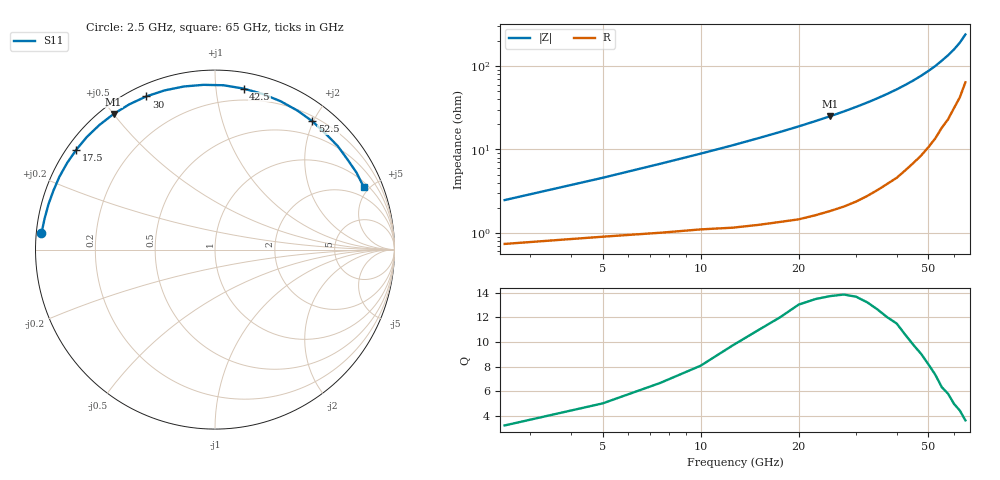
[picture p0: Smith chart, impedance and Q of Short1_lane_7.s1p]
! File created by SignalIntegrity v1.5.1: Signal and Power Integrity Tools
! https://github.com/Nubis-Communications/SignalIntegrity
# MHz S MA R 50.0
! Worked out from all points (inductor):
!   26 points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, 2.5 GHz to 65 GHz, reference 50 ohm
!   read as one part to ground: L = 143 pH near 2.5 GHz
!   highest Q = 13.7 at 25 GHz (marker M1), where L = 159 pH
!   S11 on the Smith chart (normalised r, x): 2.5 GHz: 0.01, +0.05; 17.5 GHz: 0.03, +0.32; 30 GHz: 0.05, +0.65; 42.5 GHz: 0.11, +1.19; 52.5 GHz: 0.27, +1.99; 65 GHz: 1.28, +4.63
2500  0.9712 174.6
5000  0.9651 169.8
7500  0.9615 164.9
10000  0.9584 159.9
12500  0.9572 154.9
15000  0.9549 149.6
17500  0.9524 144.2
20000  0.9506 138.6
22500  0.947 132.8
25000  0.9434 126.8
27500  0.9398 120.6
30000  0.9355 114.2
32500  0.9304 107.6
35000  0.9252 100.8
37500  0.9202 93.9
40000  0.9169 87.0
42500  0.9112 80.0
45000  0.9067 73.1
47500  0.9039 66.1
50000  0.9005 59.3
52500  0.8975 52.8
55000  0.8926 46.1
57500  0.8947 40.2
60000  0.8927 34.3
62500  0.8975 28.6
65000  0.899 22.7
